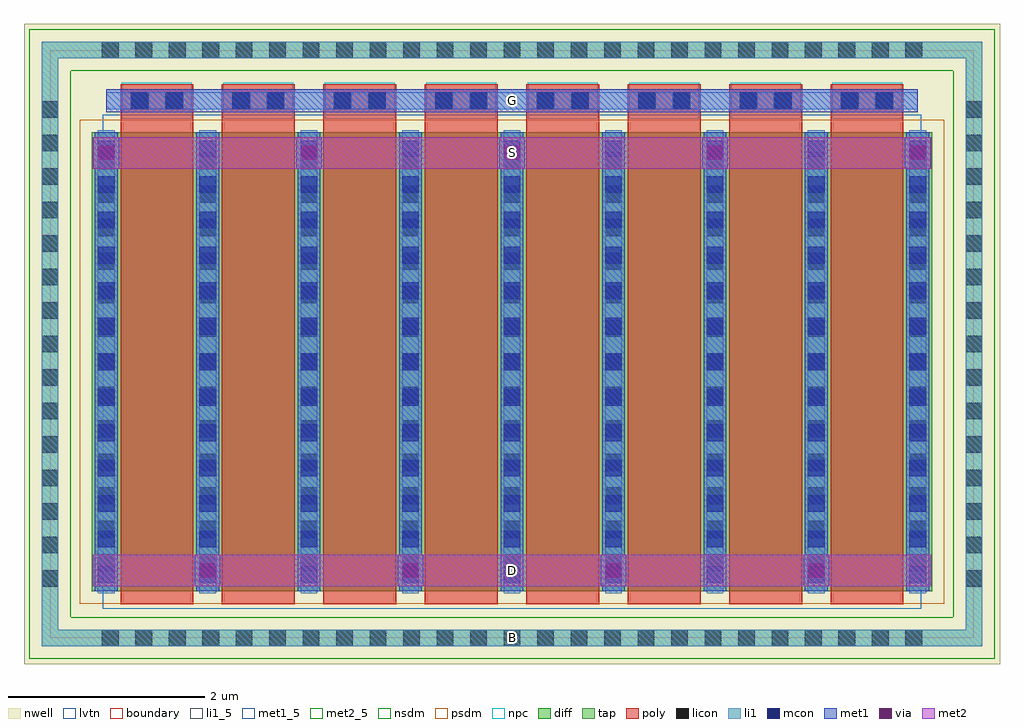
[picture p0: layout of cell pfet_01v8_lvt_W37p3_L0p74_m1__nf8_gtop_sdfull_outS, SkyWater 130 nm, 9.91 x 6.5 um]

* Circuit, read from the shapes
.subckt pfet_01v8_lvt_W37p3_L0p74_m1__nf8_gtop_sdfull_outS B D G S
XM1 D G S B sky130_fd_pr__pfet_01v8_lvt w=4.66 l=0.74 m=8
.ends

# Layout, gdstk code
import gdstk
lib = gdstk.Library(unit=1e-6, precision=1e-09)
def R(c, l, rs):  # rectangles x0, y0, x1, y1
    for r in rs: c.add(gdstk.rectangle(r[:2], r[2:], *l))
def A(c, l, x, y, w, h, nx, ny, dx, dy):  # array of equal rectangles
    R(c, l, [(x+i*dx, y+j*dy, x+i*dx+w, y+j*dy+h) for i in range(nx) for j in range(ny)])
nwell = (64, 20)
diff = (65, 20)
tap = (65, 44)
poly = (66, 20)
licon = (66, 44)
li1_5 = (67, 5)
li1 = (67, 20)
mcon = (67, 44)
met1_5 = (68, 5)
met1 = (68, 20)
via = (68, 44)
met2_5 = (69, 5)
met2 = (69, 20)
nsdm = (93, 44)
psdm = (94, 20)
npc = (95, 20)
lvtn = (125, 44)
boundary = (235, 4)

sky130_fd_pr__pfet_01v8_ = lib.new_cell('sky130_fd_pr__pfet_01v8_lvt_X64C96')
R(sky130_fd_pr__pfet_01v8_, nwell, [(-4.955,-3.25,4.955,3.25)])
R(sky130_fd_pr__pfet_01v8_, diff, [(-4.265,-2.51,4.265,2.15)])
R(sky130_fd_pr__pfet_01v8_, tap, [(-4.775,-3.07,4.775,-2.9), (-4.775,-2.9,-4.605,2.9), (4.605,-2.9,4.775,2.9), (-4.775,2.9,4.775,3.07)])
A(sky130_fd_pr__pfet_01v8_, poly, -3.975, -2.64, 0.74, 5.275, 8, 1, 1.03, 0)
A(sky130_fd_pr__pfet_01v8_, licon, -4.165, -3.07, 0.17, 0.17, 25, 2, 0.34, 5.97)
A(sky130_fd_pr__pfet_01v8_, licon, -4.775, -2.465, 0.17, 0.17, 1, 15, 0, 0.34)
A(sky130_fd_pr__pfet_01v8_, licon, 4.605, -2.465, 0.17, 0.17, 1, 15, 0, 0.34)
A(sky130_fd_pr__pfet_01v8_, licon, -4.205, -2.305, 0.17, 0.17, 9, 13, 1.03, 0.34)
R(sky130_fd_pr__pfet_01v8_, licon, [(-3.86,2.385,-3.69,2.555), (-3.52,2.385,-3.35,2.555), (-2.83,2.385,-2.66,2.555), (-2.49,2.385,-2.32,2.555), (-1.8,2.385,-1.63,2.555), (-1.46,2.385,-1.29,2.555), (-0.77,2.385,-0.6,2.555), (-0.43,2.385,-0.26,2.555), (0.26,2.385,0.43,2.555), (0.6,2.385,0.77,2.555), (1.29,2.385,1.46,2.555), (1.63,2.385,1.8,2.555), (2.32,2.385,2.49,2.555), (2.66,2.385,2.83,2.555), (3.35,2.385,3.52,2.555), (3.69,2.385,3.86,2.555)])
A(sky130_fd_pr__pfet_01v8_, li1, -4.205, -2.53, 0.17, 4.7, 9, 1, 1.03, 0)
R(sky130_fd_pr__pfet_01v8_, li1, [(-4.775,-3.07,4.775,-2.9), (-4.775,-2.9,-4.605,2.9), (4.605,-2.9,4.775,2.9), (-4.12,2.385,4.12,2.555), (-4.775,2.9,4.775,3.07)])
A(sky130_fd_pr__pfet_01v8_, mcon, -4.205, -2.425, 0.17, 0.17, 9, 13, 1.03, 0.36)
R(sky130_fd_pr__pfet_01v8_, mcon, [(-3.87,2.385,-3.7,2.555), (-3.51,2.385,-3.34,2.555), (-2.84,2.385,-2.67,2.555), (-2.48,2.385,-2.31,2.555), (-1.81,2.385,-1.64,2.555), (-1.45,2.385,-1.28,2.555), (-0.78,2.385,-0.61,2.555), (-0.42,2.385,-0.25,2.555), (0.25,2.385,0.42,2.555), (0.61,2.385,0.78,2.555), (1.28,2.385,1.45,2.555), (1.64,2.385,1.81,2.555), (2.31,2.385,2.48,2.555), (2.67,2.385,2.84,2.555), (3.34,2.385,3.51,2.555), (3.7,2.385,3.87,2.555)])
A(sky130_fd_pr__pfet_01v8_, met1, -4.235, -2.51, 0.23, 4.66, 9, 1, 1.03, 0)
A(sky130_fd_pr__pfet_01v8_, met1, -3.955, 2.355, 0.7, 0.03, 8, 2, 1.03, 0.2)
R(sky130_fd_pr__pfet_01v8_, met1, [(-4.12,2.385,4.12,2.555)])
R(sky130_fd_pr__pfet_01v8_, nsdm, [(-4.9,-3.195,4.9,-2.775), (-4.9,-2.775,-4.48,2.775), (4.48,-2.775,4.9,2.775), (-4.9,2.775,4.9,3.195)])
R(sky130_fd_pr__pfet_01v8_, psdm, [(-4.39,-2.635,4.39,2.275)])
A(sky130_fd_pr__pfet_01v8_, npc, -3.96, 2.285, 0.71, 0.37, 8, 1, 1.03, 0)
R(sky130_fd_pr__pfet_01v8_, lvtn, [(-4.155,-2.69,4.155,2.33)])
R(sky130_fd_pr__pfet_01v8_, boundary, [(-4.69,-2.985,4.69,2.985)])
sky130_fd_pr__pfet_01v8_.add(gdstk.Label('B', (0,-2.985), layer=67, texttype=5))
sky130_fd_pr__pfet_01v8_.add(gdstk.Label('D0', (-4.12,-0.18), layer=67, texttype=5))
sky130_fd_pr__pfet_01v8_.add(gdstk.Label('G', (3.605,2.47), layer=67, texttype=5))
sky130_fd_pr__pfet_01v8_.add(gdstk.Label('G', (2.575,2.47), layer=67, texttype=5))
sky130_fd_pr__pfet_01v8_.add(gdstk.Label('G', (1.545,2.47), layer=67, texttype=5))
sky130_fd_pr__pfet_01v8_.add(gdstk.Label('G', (0.515,2.47), layer=67, texttype=5))
sky130_fd_pr__pfet_01v8_.add(gdstk.Label('G', (-0.515,2.47), layer=67, texttype=5))
sky130_fd_pr__pfet_01v8_.add(gdstk.Label('G', (-1.545,2.47), layer=67, texttype=5))
sky130_fd_pr__pfet_01v8_.add(gdstk.Label('G', (-2.575,2.47), layer=67, texttype=5))
sky130_fd_pr__pfet_01v8_.add(gdstk.Label('G', (-3.605,2.47), layer=67, texttype=5))
sky130_fd_pr__pfet_01v8_.add(gdstk.Label('S1', (-3.09,-0.18), layer=67, texttype=5))
sky130_fd_pr__pfet_01v8_.add(gdstk.Label('D2', (-2.06,-0.18), layer=67, texttype=5))
sky130_fd_pr__pfet_01v8_.add(gdstk.Label('S3', (-1.03,-0.18), layer=67, texttype=5))
sky130_fd_pr__pfet_01v8_.add(gdstk.Label('D4', (0,-0.18), layer=67, texttype=5))
sky130_fd_pr__pfet_01v8_.add(gdstk.Label('S5', (1.03,-0.18), layer=67, texttype=5))
sky130_fd_pr__pfet_01v8_.add(gdstk.Label('D6', (2.06,-0.18), layer=67, texttype=5))
sky130_fd_pr__pfet_01v8_.add(gdstk.Label('S7', (3.09,-0.18), layer=67, texttype=5))

pfet_01v8_lvt_w37p3_l0p7 = lib.new_cell('pfet_01v8_lvt_W37p3_L0p74_m1__nf8_gtop_sdfull_outS')
R(pfet_01v8_lvt_w37p3_l0p7, li1_5, [(4.605,-0.085,4.775,0.085)])
R(pfet_01v8_lvt_w37p3_l0p7, li1, [(4.605,-0.085,4.775,0.085)])
R(pfet_01v8_lvt_w37p3_l0p7, met1_5, [(0.57,5.34,8.81,5.57)])
A(pfet_01v8_lvt_w37p3_l0p7, met1, 1.47, 0.525, 0.26, 0.32, 4, 1, 2.06, 0)
A(pfet_01v8_lvt_w37p3_l0p7, met1, 0.44, 4.765, 0.26, 0.32, 5, 1, 2.06, 0)
R(pfet_01v8_lvt_w37p3_l0p7, met1, [(0.57,5.34,8.81,5.57)])
A(pfet_01v8_lvt_w37p3_l0p7, via, 1.525, 0.61, 0.15, 0.15, 4, 1, 2.06, 0)
A(pfet_01v8_lvt_w37p3_l0p7, via, 0.495, 4.85, 0.15, 0.15, 5, 1, 2.06, 0)
R(pfet_01v8_lvt_w37p3_l0p7, met2_5, [(0.435,0.525,8.945,0.845), (0.435,4.765,8.945,5.085)])
R(pfet_01v8_lvt_w37p3_l0p7, met2, [(0.435,0.525,8.945,0.845), (0.435,4.765,8.945,5.085)])
pfet_01v8_lvt_w37p3_l0p7.add(gdstk.Reference(sky130_fd_pr__pfet_01v8_, (4.69,2.985)))
pfet_01v8_lvt_w37p3_l0p7.add(gdstk.Label('S', (4.69,4.925), layer=69, texttype=5))
pfet_01v8_lvt_w37p3_l0p7.add(gdstk.Label('D', (4.69,0.685), layer=69, texttype=5))
pfet_01v8_lvt_w37p3_l0p7.add(gdstk.Label('G', (4.69,5.455), layer=68, texttype=5))
pfet_01v8_lvt_w37p3_l0p7.add(gdstk.Label('B', (4.69,0), layer=67, texttype=5))

lib.write_gds('pfet_01v8_lvt_W37p3_L0p74_m1__nf8_gtop_sdfull_outS.gds')
